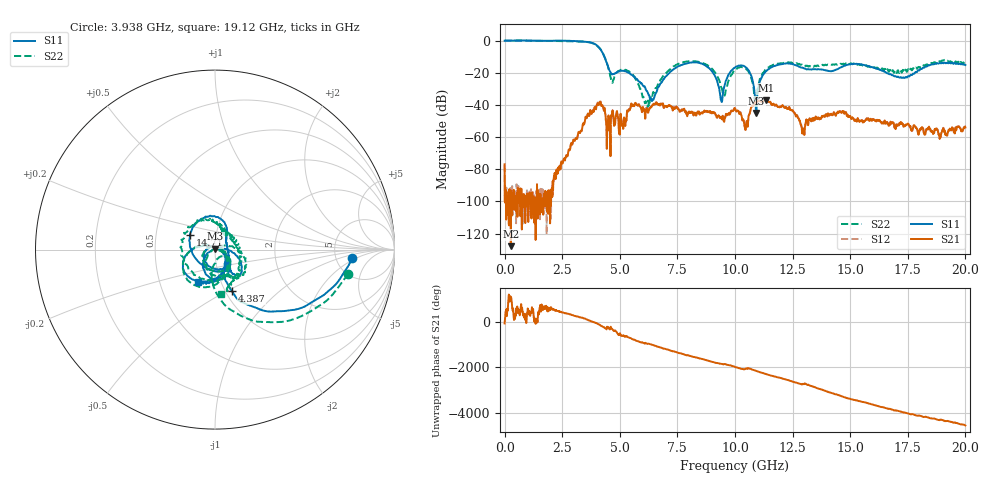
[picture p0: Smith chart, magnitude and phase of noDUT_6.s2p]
#  HZ  S  RI  R  50.00
! Rohde & Schwarz Vector Network Analyzer
! Rohde-Schwarz,ZNB20-2Port,1311601062102128,3.60
! Created: UTC 4/29/2024, 3:50:03 PM
! freq[Hz]  re:S11  im:S11  re:S21  im:S21  re:S12  im:S12  re:S22  im:S22
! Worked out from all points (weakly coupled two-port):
!   2007 points, 100 kHz to 20 GHz, reference 50 ohm
!   highest |S21| = -37.07 dB at 11.34 GHz (marker M1); lowest = -127.8 dB at 269.3 MHz (marker M2)
!   lowest |S11| = -45.0 dB at 10.93 GHz (marker M3), VSWR 1.01, Z = 50.1 + j0.544 ohm
!   |S11| at or under -10 dB: 4.333 GHz to end of sweep
!   |S22| runs from -42.7 to 0.1 dB; largest |S21 - S12| = 0.00083
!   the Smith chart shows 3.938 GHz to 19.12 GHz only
!   S11 on the Smith chart (normalised r, x): 3.938 GHz: 7.19, -1.60; 4.387 GHz: 1.07, -0.53; 14.71 GHz: 0.75, +0.13; 19.12 GHz: 0.78, -0.29
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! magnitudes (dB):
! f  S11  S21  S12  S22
! 100 kHz  0.0  -76.9  -77.2  0.1
! 269.3 MHz  0.0  -127.8  -97.3  0.0
! 2.333 GHz  0.0  -78.9  -81.3  -0.3
! 3.34 GHz  -0.6  -56.4  -56.1  -0.6
! 3.938 GHz  -2.3  -41.4  -41.0  -2.5
! 4.387 GHz  -12.1  -47.5  -47.4  -11.8
! 4.666 GHz  -21.0  -44.5  -44.5  -25.9
! 5.533 GHz  -21.4  -40.3  -40.2  -21.0
! 6.182 GHz  -31.3  -42.6  -42.7  -42.7
! 6.67 GHz  -28.9  -39.4  -39.4  -26.6
! 8.345 GHz  -13.5  -44.9  -45.0  -13.0
! 9.422 GHz  -38.2  -48.5  -48.4  -29.5
! 10 GHz  -16.7  -42.2  -42.1  -18.4
! 10.47 GHz  -16.5  -54.5  -54.5  -17.3
! 10.93 GHz  -45.0  -38.5  -38.5  -37.9
! 11.34 GHz  -19.2  -37.1  -37.1  -18.0
! 12.94 GHz  -16.9  -56.0  -56.1  -15.5
! 13.34 GHz  -17.9  -48.4  -48.4  -15.8
! 14.71 GHz  -15.9  -43.9  -43.6  -14.3
! 16.67 GHz  -20.7  -53.0  -53.0  -19.4
! 19.12 GHz  -13.9  -57.9  -58.1  -12.1
! 20 GHz  -15.2  -54.0  -53.8  -14.4
